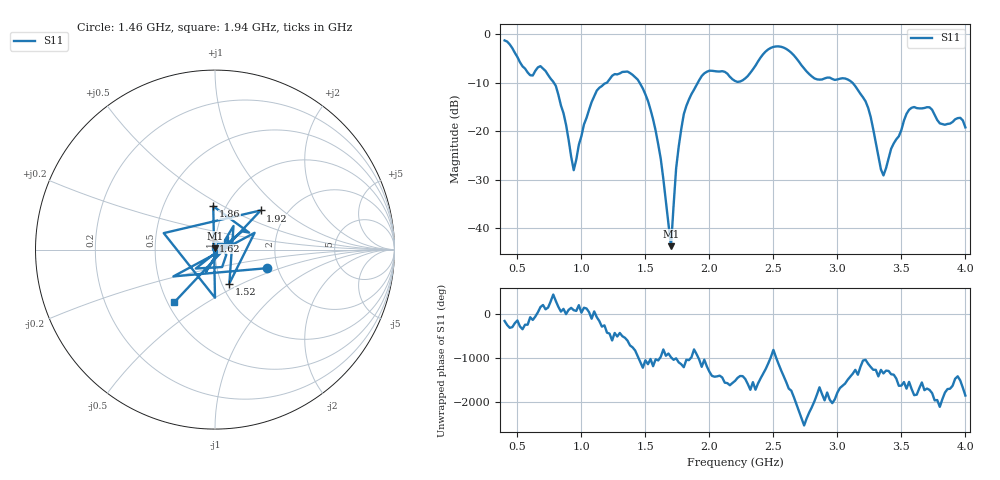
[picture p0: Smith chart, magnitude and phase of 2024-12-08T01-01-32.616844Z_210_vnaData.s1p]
!Created with skrf (http://scikit-rf.org).
# Hz S RI R 50.0
!freq ReS11 ImS11
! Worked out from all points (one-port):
!   181 points, 400 MHz to 4 GHz, reference 50 ohm
!   lowest |S11| = -43.6 dB at 1.7 GHz (marker M1), VSWR 1.01, Z = 50 + j0.657 ohm
!   |S11| at or under -10 dB: 784.6 MHz to 1.2 GHz (415 MHz wide, 41.8 % of centre); 1.454 GHz to 1.909 GHz (455 MHz wide, 27.1 % of centre); 3.117 GHz to end of sweep
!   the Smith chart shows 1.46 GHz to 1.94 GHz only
!   S11 on the Smith chart (normalised r, x): 1.46 GHz: 1.76, -0.40; 1.52 GHz: 1.09, -0.43; 1.62 GHz: 0.97, +0.10; 1.86 GHz: 0.87, +0.45; 1.92 GHz: 1.47, +0.72; 1.94 GHz: 0.54, -0.37
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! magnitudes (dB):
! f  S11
! 400 MHz  -1.3
! 600 MHz  -8.5
! 720 MHz  -7.6
! 800 MHz  -10.6
! 860 MHz  -16.3
! 940 MHz  -28.0
! 1.02 GHz  -18.6
! 1.12 GHz  -11.6
! 1.3 GHz  -8.1
! 1.46 GHz  -10.2
! 1.52 GHz  -13.8
! 1.62 GHz  -25.7
! 1.7 GHz  -43.6
! 1.74 GHz  -27.6
! 1.76 GHz  -23.2
! 1.8 GHz  -16.5
! 1.86 GHz  -12.3
! 1.92 GHz  -9.5
! 1.94 GHz  -8.6
! 2.2 GHz  -9.6
! 2.48 GHz  -2.8
! 2.66 GHz  -4.4
! 2.82 GHz  -9.1
! 3.1 GHz  -9.6
! 3.24 GHz  -15.2
! 3.36 GHz  -29.1
! 3.56 GHz  -15.6
! 4 GHz  -19.2
